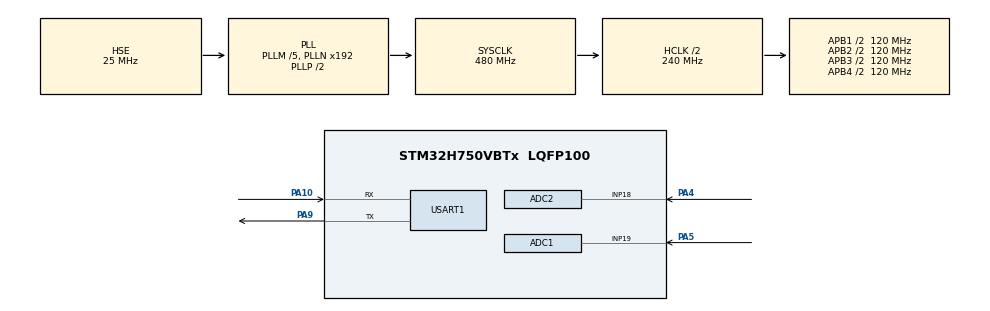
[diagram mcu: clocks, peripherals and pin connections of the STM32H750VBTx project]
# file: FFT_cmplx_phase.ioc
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ADC1.Channel-1\#ChannelRegularConversion=ADC_CHANNEL_19
ADC1.ContinuousConvMode=DISABLE
ADC1.ConversionDataManagement=ADC_CONVERSIONDATA_DMA_ONESHOT
ADC1.DMAAccessModeView=ENABLE
ADC1.EnableRegularConversion=ENABLE
ADC1.ExternalTrigConv=ADC_EXTERNALTRIG_T3_TRGO
ADC1.Mode=ADC_DUALMODE_REGSIMULT
ADC1.NbrOfConversionFlag=1
ADC1.OffsetNumber-1\#ChannelRegularConversion=ADC_OFFSET_NONE
ADC1.Rank-1\#ChannelRegularConversion=1
ADC1.Resolution=ADC_RESOLUTION_12B
ADC1.SamplingTime-1\#ChannelRegularConversion=ADC_SAMPLETIME_1CYCLE_5
ADC1.master=1
ADC2.Channel-0\#ChannelRegularConversion=ADC_CHANNEL_18
ADC2.ConversionDataManagement=ADC_CONVERSIONDATA_DR
ADC2.DMAAccessModeView=ENABLE
ADC2.Mode=ADC_DUALMODE_REGSIMULT
ADC2.NbrOfConversionFlag=1
ADC2.OffsetNumber-0\#ChannelRegularConversion=ADC_OFFSET_NONE
ADC2.OffsetSignedSaturation-0\#ChannelRegularConversion=DISABLE
ADC2.Rank-0\#ChannelRegularConversion=1
ADC2.Resolution=ADC_RESOLUTION_12B
ADC2.SamplingTime-0\#ChannelRegularConversion=ADC_SAMPLETIME_1CYCLE_5
Dma.ADC1.0.Direction=DMA_PERIPH_TO_MEMORY
Dma.ADC1.0.EventEnable=DISABLE
Dma.ADC1.0.FIFOMode=DMA_FIFOMODE_DISABLE
Dma.ADC1.0.Instance=DMA1_Stream0
Dma.ADC1.0.MemDataAlignment=DMA_MDATAALIGN_WORD
Dma.ADC1.0.MemInc=DMA_MINC_ENABLE
Dma.ADC1.0.Mode=DMA_NORMAL
Dma.ADC1.0.PeriphDataAlignment=DMA_PDATAALIGN_WORD
Dma.ADC1.0.PeriphInc=DMA_PINC_DISABLE
Dma.ADC1.0.Polarity=HAL_DMAMUX_REQ_GEN_RISING
Dma.ADC1.0.Priority=DMA_PRIORITY_LOW
Dma.ADC1.0.RequestNumber=1
Dma.ADC1.0.SignalID=NONE
Dma.ADC1.0.SyncEnable=DISABLE
Dma.ADC1.0.SyncPolarity=HAL_DMAMUX_SYNC_NO_EVENT
Dma.ADC1.0.SyncRequestNumber=1
Dma.ADC1.0.SyncSignalID=NONE
Dma.Request0=ADC1
Mcu.Family=STM32H7
Mcu.Name=STM32H750VBTx
Mcu.Package=LQFP100
NVIC.ADC_IRQn=true\:0\:0\:false\:false\:true\:true\:true\:true
NVIC.DMA1_Stream0_IRQn=true\:0\:0\:false\:false\:true\:false\:true\:true
NVIC.PriorityGroup=NVIC_PRIORITYGROUP_4
PA10.Mode=Asynchronous
PA10.Signal=USART1_RX
PA4.Signal=ADCx_INP18
PA5.Signal=ADCx_INP19
PA9.Mode=Asynchronous
PA9.Signal=USART1_TX
PH0-OSC_IN\ (PH0).Mode=HSE-External-Oscillator
PH0-OSC_IN\ (PH0).Signal=RCC_OSC_IN
PH1-OSC_OUT\ (PH1).Mode=HSE-External-Oscillator
PH1-OSC_OUT\ (PH1).Signal=RCC_OSC_OUT
ProjectManager.HeapSize=0x200
ProjectManager.StackSize=0x400
ProjectManager.TargetToolchain=MDK-ARM V5
RCC.ADCFreq_Value=100000000
RCC.APB1Freq_Value=120000000
RCC.APB2Freq_Value=120000000
RCC.APB3Freq_Value=120000000
RCC.APB4Freq_Value=120000000
RCC.CortexFreq_Value=480000000
RCC.D1PPRE=RCC_APB3_DIV2
RCC.D2PPRE1=RCC_APB1_DIV2
RCC.D2PPRE2=RCC_APB2_DIV2
RCC.D3PPRE=RCC_APB4_DIV2
RCC.DIVM1=5
RCC.DIVM2=2
RCC.DIVN1=192
RCC.DIVN2=16
RCC.HCLKFreq_Value=240000000
RCC.HPRE=RCC_HCLK_DIV2
RCC.PLL2FRACN=0
RCC.PLLFRACN=0
RCC.PLLSourceVirtual=RCC_PLLSOURCE_HSE
RCC.SYSCLKFreq_VALUE=480000000
RCC.SYSCLKSource=RCC_SYSCLKSOURCE_PLLCLK
RCC.USBFreq_Value=480000000
SH.ADCx_INP18.0=ADC2_INP18,IN18-Single-Ended
SH.ADCx_INP19.0=ADC1_INP19,IN19-Single-Ended
TIM3.Period=586-1
TIM3.TIM_MasterOutputTrigger=TIM_TRGO_UPDATE
USART1.VirtualMode-Asynchronous=VM_ASYNC
VP_MEMORYMAP_VS_MEMORYMAP.Mode=CurAppReg
VP_TIM3_VS_ClockSourceINT.Mode=Internal
board=custom

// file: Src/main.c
/* USER CODE BEGIN Header */
/**
  ******************************************************************************
  * @file           : main.c
  * @brief          : Main program body
  ******************************************************************************
  * @attention
  *
  * Copyright (c) 2024 STMicroelectronics.
  * All rights reserved.
  *
  * This software is licensed under terms that can be found in the LICENSE file
  * in the root directory of this software component.
  * If no LICENSE file comes with this software, it is provided AS-IS.
  *
  ******************************************************************************
  */
/* USER CODE END Header */
#include "main.h"
#include "adc.h"
#include "dma.h"
#include "memorymap.h"
#include "tim.h"
#include "usart.h"
#include "gpio.h"

/* USER CODE BEGIN Includes */
#include "stdio.h"
#include "arm_math.h"
#include "arm_common_tables.h"
#include "arm_const_structs.h"
/* USER CODE END Includes */

/* USER CODE BEGIN PD */
#define length 4096
#define phaselength 50//相位数据存储长度，用于稳定数据
/* USER CODE END PD */

/* USER CODE BEGIN PM */
float midfliter(float *input,uint32_t inlength);//中值求平均
int fputc(int ch,FILE *f)
{
	HAL_UART_Transmit(&huart1,(uint8_t *)&ch,1,HAL_MAX_DELAY);
	return ch;
}
/* USER CODE END PM */

/* USER CODE BEGIN PV */
__IO uint8_t adcflag;
uint32_t dma_adc_value[length];
float adcinput1[length*2];
float adcinput2[length*2];
uint32_t max_pos;
float max_value;
uint32_t Freq1;
uint32_t Freq2;
float phase1;
float phase2;
float phase[phaselength];
float phase_final;
uint8_t phasecnt=0;
float adcoutput1[length];
float adcoutput2[length];
float X,Y;
/* USER CODE END PV */

void SystemClock_Config(void);
void PeriphCommonClock_Config(void);

int main(void)
{

  /* MCU Configuration--------------------------------------------------------*/

  /* Reset of all peripherals, Initializes the Flash interface and the Systick. */
  HAL_Init();

  /* Configure the system clock */
  SystemClock_Config();

  /* Configure the peripherals common clocks */
  PeriphCommonClock_Config();

  /* Initialize all configured peripherals */
  MX_GPIO_Init();
  MX_DMA_Init();
  MX_ADC1_Init();
  MX_TIM3_Init();
  MX_USART1_UART_Init();
  MX_ADC2_Init();
  /* USER CODE BEGIN 2 */
	HAL_ADC_Start(&hadc2);//开启双ADC采集
	HAL_ADCEx_MultiModeStart_DMA(&hadc1,(uint32_t *)dma_adc_value,length);
	HAL_TIM_Base_Start(&htim3);
  /* USER CODE END 2 */

  /* Infinite loop */
  while (1)
  {

    /* USER CODE BEGIN 3 */
		if(adcflag)
		{
			adcflag=0;
			HAL_ADC_Stop(&hadc2);
			for(int i=0;i<length;i++)//双ADC采集，数据存储为低16位是主ADC数据，高16位是从ADC数据
			{
				adcinput1[i*2]=(dma_adc_value[i]&0xfff)*3.3f/4095.0f;
				adcinput1[i*2+1]=0.0f;
				adcinput2[i*2]=((dma_adc_value[i]>>16)&0xfff)*3.3f/4095.0f;
				adcinput2[i*2+1]=0.0f;
				//printf("%.3f,%.3f\n\r",adcinput1[i*2],adcinput2[i*2]);
			}

			arm_cfft_f32(&arm_cfft_sR_f32_len4096,adcinput1,0,1);//分别进行FFT
			arm_cfft_f32(&arm_cfft_sR_f32_len4096,adcinput2,0,1);

			arm_cmplx_mag_f32(adcinput1,adcoutput1,length);//分别求模值
			arm_cmplx_mag_f32(adcinput2,adcoutput2,length);

			adcoutput1[0]=0.0f;
			adcoutput2[0]=0.0f;

//			for(int i=0;i<length;i++)
//			{
//				printf("%.3f,%.3f,%d\n\r",adcoutput1[i],adcoutput2[i],i);
//			}

			arm_max_f32(adcoutput1,length,&max_value,&max_pos);//分别求基波位置
			if(max_pos>(length/2)) max_pos=length-max_pos;
			Freq1=409600/length*max_pos;
			X=adcinput1[max_pos*2];
			Y=adcinput1[max_pos*2+1];
			phase1=atan2f(Y,X)*180.0f/3.1415926f;//分别求基波的相位

			arm_max_f32(adcoutput2,length,&max_value,&max_pos);
			if(max_pos>(length/2)) max_pos=length-max_pos;
			Freq2=409600/length*max_pos;
			X=adcinput2[max_pos*2];
			Y=adcinput2[max_pos*2+1];
			phase2=atan2f(Y,X)*180.0f/3.1415926f;

			phase[phasecnt]=phase1-phase2;//计算相位差
			if(phase[phasecnt]>180) phase[phasecnt]=phase[phasecnt]-360;//将相位差锁定在-180~180
			if(phase[phasecnt]<-180) phase[phasecnt]=phase[phasecnt]+360;
			phase[phasecnt]-=8.00f;//误差处理
			phasecnt++;
			if(phasecnt>=phaselength)//多次采集后处理得到一个稳定值
			{
				phasecnt=0;
				phase_final=midfliter(phase,phaselength);
			}

			HAL_ADC_Start(&hadc2);
			HAL_ADCEx_MultiModeStart_DMA(&hadc1,(uint32_t *)dma_adc_value,length*2);
		}
  }
  /* USER CODE END 3 */
}

void SystemClock_Config(void)
{
  RCC_OscInitTypeDef RCC_OscInitStruct = {0};
  RCC_ClkInitTypeDef RCC_ClkInitStruct = {0};

  /** Supply configuration update enable
  */
  HAL_PWREx_ConfigSupply(PWR_LDO_SUPPLY);

  /** Configure the main internal regulator output voltage
  */
  __HAL_PWR_VOLTAGESCALING_CONFIG(PWR_REGULATOR_VOLTAGE_SCALE1);

  while(!__HAL_PWR_GET_FLAG(PWR_FLAG_VOSRDY)) {}

  __HAL_RCC_SYSCFG_CLK_ENABLE();
  __HAL_PWR_VOLTAGESCALING_CONFIG(PWR_REGULATOR_VOLTAGE_SCALE0);

  while(!__HAL_PWR_GET_FLAG(PWR_FLAG_VOSRDY)) {}

  /** Initializes the RCC Oscillators according to the specified parameters
  * in the RCC_OscInitTypeDef structure.
  */
  RCC_OscInitStruct.OscillatorType = RCC_OSCILLATORTYPE_HSE;
  RCC_OscInitStruct.HSEState = RCC_HSE_ON;
  RCC_OscInitStruct.PLL.PLLState = RCC_PLL_ON;
  RCC_OscInitStruct.PLL.PLLSource = RCC_PLLSOURCE_HSE;
  RCC_OscInitStruct.PLL.PLLM = 5;
  RCC_OscInitStruct.PLL.PLLN = 192;
  RCC_OscInitStruct.PLL.PLLP = 2;
  RCC_OscInitStruct.PLL.PLLQ = 2;
  RCC_OscInitStruct.PLL.PLLR = 2;
  RCC_OscInitStruct.PLL.PLLRGE = RCC_PLL1VCIRANGE_2;
  RCC_OscInitStruct.PLL.PLLVCOSEL = RCC_PLL1VCOWIDE;
  RCC_OscInitStruct.PLL.PLLFRACN = 0;
  if (HAL_RCC_OscConfig(&RCC_OscInitStruct) != HAL_OK)
  {
    Error_Handler();
  }

  /** Initializes the CPU, AHB and APB buses clocks
  */
  RCC_ClkInitStruct.ClockType = RCC_CLOCKTYPE_HCLK|RCC_CLOCKTYPE_SYSCLK
                              |RCC_CLOCKTYPE_PCLK1|RCC_CLOCKTYPE_PCLK2
                              |RCC_CLOCKTYPE_D3PCLK1|RCC_CLOCKTYPE_D1PCLK1;
  RCC_ClkInitStruct.SYSCLKSource = RCC_SYSCLKSOURCE_PLLCLK;
  RCC_ClkInitStruct.SYSCLKDivider = RCC_SYSCLK_DIV1;
  RCC_ClkInitStruct.AHBCLKDivider = RCC_HCLK_DIV2;
  RCC_ClkInitStruct.APB3CLKDivider = RCC_APB3_DIV2;
  RCC_ClkInitStruct.APB1CLKDivider = RCC_APB1_DIV2;
  RCC_ClkInitStruct.APB2CLKDivider = RCC_APB2_DIV2;
  RCC_ClkInitStruct.APB4CLKDivider = RCC_APB4_DIV2;

  if (HAL_RCC_ClockConfig(&RCC_ClkInitStruct, FLASH_LATENCY_4) != HAL_OK)
  {
    Error_Handler();
  }
}

void PeriphCommonClock_Config(void)
{
  RCC_PeriphCLKInitTypeDef PeriphClkInitStruct = {0};

  /** Initializes the peripherals clock
  */
  PeriphClkInitStruct.PeriphClockSelection = RCC_PERIPHCLK_ADC;
  PeriphClkInitStruct.PLL2.PLL2M = 2;
  PeriphClkInitStruct.PLL2.PLL2N = 16;
  PeriphClkInitStruct.PLL2.PLL2P = 2;
  PeriphClkInitStruct.PLL2.PLL2Q = 2;
  PeriphClkInitStruct.PLL2.PLL2R = 2;
  PeriphClkInitStruct.PLL2.PLL2RGE = RCC_PLL2VCIRANGE_3;
  PeriphClkInitStruct.PLL2.PLL2VCOSEL = RCC_PLL2VCOWIDE;
  PeriphClkInitStruct.PLL2.PLL2FRACN = 0;
  PeriphClkInitStruct.AdcClockSelection = RCC_ADCCLKSOURCE_PLL2;
  if (HAL_RCCEx_PeriphCLKConfig(&PeriphClkInitStruct) != HAL_OK)
  {
    Error_Handler();
  }
}

/* USER CODE BEGIN 4 */
float midfliter(float *input,uint32_t inlength)
{
	arm_sort_instance_f32 *S;
	float output[inlength];
	arm_sort_init_f32(S,(arm_sort_alg)4,(arm_sort_dir)1);
	arm_sort_f32(S,input,output,inlength);
	return (output[23]+output[24]+output[25]+output[26])/4.0f;
}
void HAL_ADC_ConvCpltCallback(ADC_HandleTypeDef *hadc)
{
	adcflag=1;
}
/* USER CODE END 4 */

void Error_Handler(void)
{
  __disable_irq();
  while (1)
  {
  }
}
